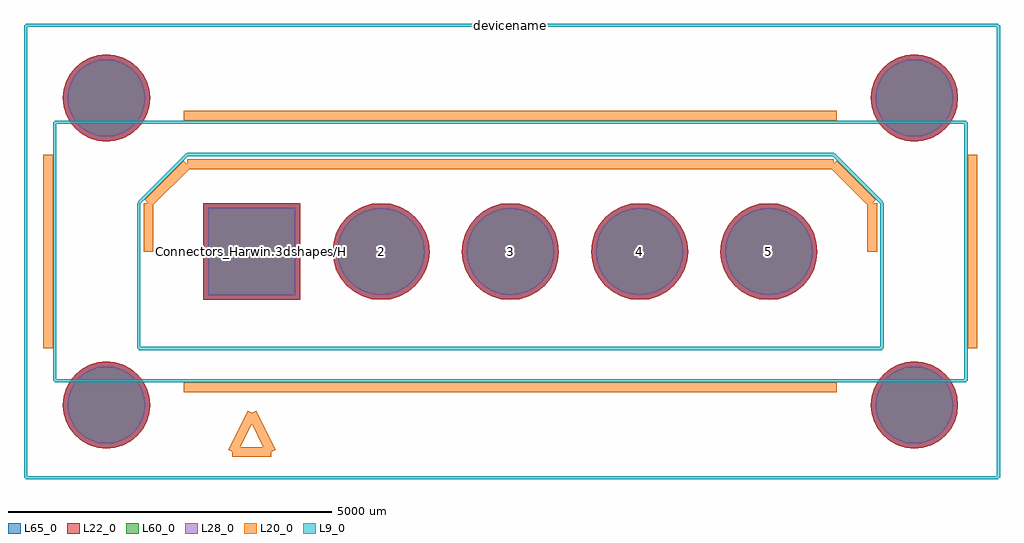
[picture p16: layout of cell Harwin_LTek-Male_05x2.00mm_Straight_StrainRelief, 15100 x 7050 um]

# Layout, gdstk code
import gdstk
lib = gdstk.Library(unit=1e-6, precision=1e-09)
def R(c, l, rs):  # rectangles x0, y0, x1, y1
    for r in rs: c.add(gdstk.rectangle(r[:2], r[2:], *l))
def P(c, l, *ps):  # polygons
    for p in ps: c.add(gdstk.Polygon(p, *l))
L9_0 = (9, 0)
L20_0 = (20, 0)
L22_0 = (22, 0)
L28_0 = (28, 0)
L60_0 = (60, 0)
L65_0 = (65, 0)

harwin_ltek_male_05x2_00 = lib.new_cell('Harwin_LTek-Male_05x2.00mm_Straight_StrainRelief')
R(harwin_ltek_male_05x2_00, L22_0, [(-750,-750,750,750)])
P(harwin_ltek_male_05x2_00, L22_0, [(10925,-2375),(10912.03,-2243.314),(10873.619,-2116.689),(10811.242,-1999.99),(10727.297,-1897.703),(10625.01,-1813.758),(10508.311,-1751.381),(10381.686,-1712.97),(10250,-1700),(10118.314,-1712.97),(9991.689,-1751.381),(9874.99,-1813.758),(9772.703,-1897.703),(9688.758,-1999.99),(9626.381,-2116.689),(9587.97,-2243.314),(9575,-2375),(9587.97,-2506.686),(9626.381,-2633.311),(9688.758,-2750.01),(9772.703,-2852.297),(9874.99,-2936.242),(9991.689,-2998.619),(10118.314,-3037.03),(10250,-3050),(10381.686,-3037.03),(10508.311,-2998.619),(10625.01,-2936.242),(10727.297,-2852.297),(10811.242,-2750.01),(10873.619,-2633.311),(10912.03,-2506.686)],
  [(10925,2375),(10912.03,2506.686),(10873.619,2633.311),(10811.242,2750.01),(10727.297,2852.297),(10625.01,2936.242),(10508.311,2998.619),(10381.686,3037.03),(10250,3050),(10118.314,3037.03),(9991.689,2998.619),(9874.99,2936.242),(9772.703,2852.297),(9688.758,2750.01),(9626.381,2633.311),(9587.97,2506.686),(9575,2375),(9587.97,2243.314),(9626.381,2116.689),(9688.758,1999.99),(9772.703,1897.703),(9874.99,1813.758),(9991.689,1751.381),(10118.314,1712.97),(10250,1700),(10381.686,1712.97),(10508.311,1751.381),(10625.01,1813.758),(10727.297,1897.703),(10811.242,1999.99),(10873.619,2116.689),(10912.03,2243.314)],
  [(-1575,-2375),(-1587.97,-2243.314),(-1626.381,-2116.689),(-1688.758,-1999.99),(-1772.703,-1897.703),(-1874.99,-1813.758),(-1991.689,-1751.381),(-2118.314,-1712.97),(-2250,-1700),(-2381.686,-1712.97),(-2508.311,-1751.381),(-2625.01,-1813.758),(-2727.297,-1897.703),(-2811.242,-1999.99),(-2873.619,-2116.689),(-2912.03,-2243.314),(-2925,-2375),(-2912.03,-2506.686),(-2873.619,-2633.311),(-2811.242,-2750.01),(-2727.297,-2852.297),(-2625.01,-2936.242),(-2508.311,-2998.619),(-2381.686,-3037.03),(-2250,-3050),(-2118.314,-3037.03),(-1991.689,-2998.619),(-1874.99,-2936.242),(-1772.703,-2852.297),(-1688.758,-2750.01),(-1626.381,-2633.311),(-1587.97,-2506.686)],
  [(-1575,2375),(-1587.97,2506.686),(-1626.381,2633.311),(-1688.758,2750.01),(-1772.703,2852.297),(-1874.99,2936.242),(-1991.689,2998.619),(-2118.314,3037.03),(-2250,3050),(-2381.686,3037.03),(-2508.311,2998.619),(-2625.01,2936.242),(-2727.297,2852.297),(-2811.242,2750.01),(-2873.619,2633.311),(-2912.03,2506.686),(-2925,2375),(-2912.03,2243.314),(-2873.619,2116.689),(-2811.242,1999.99),(-2727.297,1897.703),(-2625.01,1813.758),(-2508.311,1751.381),(-2381.686,1712.97),(-2250,1700),(-2118.314,1712.97),(-1991.689,1751.381),(-1874.99,1813.758),(-1772.703,1897.703),(-1688.758,1999.99),(-1626.381,2116.689),(-1587.97,2243.314)],
  [(8750,0),(8735.589,146.318),(8692.91,287.013),(8623.602,416.678),(8530.33,530.33),(8416.678,623.602),(8287.013,692.91),(8146.318,735.589),(8000,750),(7853.682,735.589),(7712.987,692.91),(7583.322,623.602),(7469.67,530.33),(7376.398,416.678),(7307.09,287.013),(7264.411,146.318),(7250,0),(7264.411,-146.318),(7307.09,-287.013),(7376.398,-416.678),(7469.67,-530.33),(7583.322,-623.602),(7712.987,-692.91),(7853.682,-735.589),(8000,-750),(8146.318,-735.589),(8287.013,-692.91),(8416.678,-623.602),(8530.33,-530.33),(8623.602,-416.678),(8692.91,-287.013),(8735.589,-146.318)],
  [(6750,0),(6735.589,146.318),(6692.91,287.013),(6623.602,416.678),(6530.33,530.33),(6416.678,623.602),(6287.013,692.91),(6146.318,735.589),(6000,750),(5853.682,735.589),(5712.987,692.91),(5583.322,623.602),(5469.67,530.33),(5376.398,416.678),(5307.09,287.013),(5264.411,146.318),(5250,0),(5264.411,-146.318),(5307.09,-287.013),(5376.398,-416.678),(5469.67,-530.33),(5583.322,-623.602),(5712.987,-692.91),(5853.682,-735.589),(6000,-750),(6146.318,-735.589),(6287.013,-692.91),(6416.678,-623.602),(6530.33,-530.33),(6623.602,-416.678),(6692.91,-287.013),(6735.589,-146.318)],
  [(4750,0),(4735.589,146.318),(4692.91,287.013),(4623.602,416.678),(4530.33,530.33),(4416.678,623.602),(4287.013,692.91),(4146.318,735.589),(4000,750),(3853.682,735.589),(3712.987,692.91),(3583.322,623.602),(3469.67,530.33),(3376.398,416.678),(3307.09,287.013),(3264.411,146.318),(3250,0),(3264.411,-146.318),(3307.09,-287.013),(3376.398,-416.678),(3469.67,-530.33),(3583.322,-623.602),(3712.987,-692.91),(3853.682,-735.589),(4000,-750),(4146.318,-735.589),(4287.013,-692.91),(4416.678,-623.602),(4530.33,-530.33),(4623.602,-416.678),(4692.91,-287.013),(4735.589,-146.318)],
  [(2750,0),(2735.589,146.318),(2692.91,287.013),(2623.602,416.678),(2530.33,530.33),(2416.678,623.602),(2287.013,692.91),(2146.318,735.589),(2000,750),(1853.682,735.589),(1712.987,692.91),(1583.322,623.602),(1469.67,530.33),(1376.398,416.678),(1307.09,287.013),(1264.411,146.318),(1250,0),(1264.411,-146.318),(1307.09,-287.013),(1376.398,-416.678),(1469.67,-530.33),(1583.322,-623.602),(1712.987,-692.91),(1853.682,-735.589),(2000,-750),(2146.318,-735.589),(2287.013,-692.91),(2416.678,-623.602),(2530.33,-530.33),(2623.602,-416.678),(2692.91,-287.013),(2735.589,-146.318)])
R(harwin_ltek_male_05x2_00, L28_0, [(-675,-675,675,675)])
P(harwin_ltek_male_05x2_00, L28_0, [(10850,-2375),(10838.471,-2257.946),(10804.328,-2145.39),(10748.882,-2041.658),(10674.264,-1950.736),(10583.342,-1876.118),(10479.61,-1820.672),(10367.054,-1786.529),(10250,-1775),(10132.946,-1786.529),(10020.39,-1820.672),(9916.658,-1876.118),(9825.736,-1950.736),(9751.118,-2041.658),(9695.672,-2145.39),(9661.529,-2257.946),(9650,-2375),(9661.529,-2492.054),(9695.672,-2604.61),(9751.118,-2708.342),(9825.736,-2799.264),(9916.658,-2873.882),(10020.39,-2929.328),(10132.946,-2963.471),(10250,-2975),(10367.054,-2963.471),(10479.61,-2929.328),(10583.342,-2873.882),(10674.264,-2799.264),(10748.882,-2708.342),(10804.328,-2604.61),(10838.471,-2492.054)],
  [(10850,2375),(10838.471,2492.054),(10804.328,2604.61),(10748.882,2708.342),(10674.264,2799.264),(10583.342,2873.882),(10479.61,2929.328),(10367.054,2963.471),(10250,2975),(10132.946,2963.471),(10020.39,2929.328),(9916.658,2873.882),(9825.736,2799.264),(9751.118,2708.342),(9695.672,2604.61),(9661.529,2492.054),(9650,2375),(9661.529,2257.946),(9695.672,2145.39),(9751.118,2041.658),(9825.736,1950.736),(9916.658,1876.118),(10020.39,1820.672),(10132.946,1786.529),(10250,1775),(10367.054,1786.529),(10479.61,1820.672),(10583.342,1876.118),(10674.264,1950.736),(10748.882,2041.658),(10804.328,2145.39),(10838.471,2257.946)],
  [(-1650,-2375),(-1661.529,-2257.946),(-1695.672,-2145.39),(-1751.118,-2041.658),(-1825.736,-1950.736),(-1916.658,-1876.118),(-2020.39,-1820.672),(-2132.946,-1786.529),(-2250,-1775),(-2367.054,-1786.529),(-2479.61,-1820.672),(-2583.342,-1876.118),(-2674.264,-1950.736),(-2748.882,-2041.658),(-2804.328,-2145.39),(-2838.471,-2257.946),(-2850,-2375),(-2838.471,-2492.054),(-2804.328,-2604.61),(-2748.882,-2708.342),(-2674.264,-2799.264),(-2583.342,-2873.882),(-2479.61,-2929.328),(-2367.054,-2963.471),(-2250,-2975),(-2132.946,-2963.471),(-2020.39,-2929.328),(-1916.658,-2873.882),(-1825.736,-2799.264),(-1751.118,-2708.342),(-1695.672,-2604.61),(-1661.529,-2492.054)],
  [(-1650,2375),(-1661.529,2492.054),(-1695.672,2604.61),(-1751.118,2708.342),(-1825.736,2799.264),(-1916.658,2873.882),(-2020.39,2929.328),(-2132.946,2963.471),(-2250,2975),(-2367.054,2963.471),(-2479.61,2929.328),(-2583.342,2873.882),(-2674.264,2799.264),(-2748.882,2708.342),(-2804.328,2604.61),(-2838.471,2492.054),(-2850,2375),(-2838.471,2257.946),(-2804.328,2145.39),(-2748.882,2041.658),(-2674.264,1950.736),(-2583.342,1876.118),(-2479.61,1820.672),(-2367.054,1786.529),(-2250,1775),(-2132.946,1786.529),(-2020.39,1820.672),(-1916.658,1876.118),(-1825.736,1950.736),(-1751.118,2041.658),(-1695.672,2145.39),(-1661.529,2257.946)],
  [(8675,0),(8662.03,131.686),(8623.619,258.311),(8561.242,375.01),(8477.297,477.297),(8375.01,561.242),(8258.311,623.619),(8131.686,662.03),(8000,675),(7868.314,662.03),(7741.689,623.619),(7624.99,561.242),(7522.703,477.297),(7438.758,375.01),(7376.381,258.311),(7337.97,131.686),(7325,0),(7337.97,-131.686),(7376.381,-258.311),(7438.758,-375.01),(7522.703,-477.297),(7624.99,-561.242),(7741.689,-623.619),(7868.314,-662.03),(8000,-675),(8131.686,-662.03),(8258.311,-623.619),(8375.01,-561.242),(8477.297,-477.297),(8561.242,-375.01),(8623.619,-258.311),(8662.03,-131.686)],
  [(6675,0),(6662.03,131.686),(6623.619,258.311),(6561.242,375.01),(6477.297,477.297),(6375.01,561.242),(6258.311,623.619),(6131.686,662.03),(6000,675),(5868.314,662.03),(5741.689,623.619),(5624.99,561.242),(5522.703,477.297),(5438.758,375.01),(5376.381,258.311),(5337.97,131.686),(5325,0),(5337.97,-131.686),(5376.381,-258.311),(5438.758,-375.01),(5522.703,-477.297),(5624.99,-561.242),(5741.689,-623.619),(5868.314,-662.03),(6000,-675),(6131.686,-662.03),(6258.311,-623.619),(6375.01,-561.242),(6477.297,-477.297),(6561.242,-375.01),(6623.619,-258.311),(6662.03,-131.686)],
  [(4675,0),(4662.03,131.686),(4623.619,258.311),(4561.242,375.01),(4477.297,477.297),(4375.01,561.242),(4258.311,623.619),(4131.686,662.03),(4000,675),(3868.314,662.03),(3741.689,623.619),(3624.99,561.242),(3522.703,477.297),(3438.758,375.01),(3376.381,258.311),(3337.97,131.686),(3325,0),(3337.97,-131.686),(3376.381,-258.311),(3438.758,-375.01),(3522.703,-477.297),(3624.99,-561.242),(3741.689,-623.619),(3868.314,-662.03),(4000,-675),(4131.686,-662.03),(4258.311,-623.619),(4375.01,-561.242),(4477.297,-477.297),(4561.242,-375.01),(4623.619,-258.311),(4662.03,-131.686)],
  [(2675,0),(2662.03,131.686),(2623.619,258.311),(2561.242,375.01),(2477.297,477.297),(2375.01,561.242),(2258.311,623.619),(2131.686,662.03),(2000,675),(1868.314,662.03),(1741.689,623.619),(1624.99,561.242),(1522.703,477.297),(1438.758,375.01),(1376.381,258.311),(1337.97,131.686),(1325,0),(1337.97,-131.686),(1376.381,-258.311),(1438.758,-375.01),(1522.703,-477.297),(1624.99,-561.242),(1741.689,-623.619),(1868.314,-662.03),(2000,-675),(2131.686,-662.03),(2258.311,-623.619),(2375.01,-561.242),(2477.297,-477.297),(2561.242,-375.01),(2623.619,-258.311),(2662.03,-131.686)])
R(harwin_ltek_male_05x2_00, L60_0, [(-675,-675,675,675)])
P(harwin_ltek_male_05x2_00, L60_0, [(10850,-2375),(10838.471,-2257.946),(10804.328,-2145.39),(10748.882,-2041.658),(10674.264,-1950.736),(10583.342,-1876.118),(10479.61,-1820.672),(10367.054,-1786.529),(10250,-1775),(10132.946,-1786.529),(10020.39,-1820.672),(9916.658,-1876.118),(9825.736,-1950.736),(9751.118,-2041.658),(9695.672,-2145.39),(9661.529,-2257.946),(9650,-2375),(9661.529,-2492.054),(9695.672,-2604.61),(9751.118,-2708.342),(9825.736,-2799.264),(9916.658,-2873.882),(10020.39,-2929.328),(10132.946,-2963.471),(10250,-2975),(10367.054,-2963.471),(10479.61,-2929.328),(10583.342,-2873.882),(10674.264,-2799.264),(10748.882,-2708.342),(10804.328,-2604.61),(10838.471,-2492.054)],
  [(10850,2375),(10838.471,2492.054),(10804.328,2604.61),(10748.882,2708.342),(10674.264,2799.264),(10583.342,2873.882),(10479.61,2929.328),(10367.054,2963.471),(10250,2975),(10132.946,2963.471),(10020.39,2929.328),(9916.658,2873.882),(9825.736,2799.264),(9751.118,2708.342),(9695.672,2604.61),(9661.529,2492.054),(9650,2375),(9661.529,2257.946),(9695.672,2145.39),(9751.118,2041.658),(9825.736,1950.736),(9916.658,1876.118),(10020.39,1820.672),(10132.946,1786.529),(10250,1775),(10367.054,1786.529),(10479.61,1820.672),(10583.342,1876.118),(10674.264,1950.736),(10748.882,2041.658),(10804.328,2145.39),(10838.471,2257.946)],
  [(-1650,-2375),(-1661.529,-2257.946),(-1695.672,-2145.39),(-1751.118,-2041.658),(-1825.736,-1950.736),(-1916.658,-1876.118),(-2020.39,-1820.672),(-2132.946,-1786.529),(-2250,-1775),(-2367.054,-1786.529),(-2479.61,-1820.672),(-2583.342,-1876.118),(-2674.264,-1950.736),(-2748.882,-2041.658),(-2804.328,-2145.39),(-2838.471,-2257.946),(-2850,-2375),(-2838.471,-2492.054),(-2804.328,-2604.61),(-2748.882,-2708.342),(-2674.264,-2799.264),(-2583.342,-2873.882),(-2479.61,-2929.328),(-2367.054,-2963.471),(-2250,-2975),(-2132.946,-2963.471),(-2020.39,-2929.328),(-1916.658,-2873.882),(-1825.736,-2799.264),(-1751.118,-2708.342),(-1695.672,-2604.61),(-1661.529,-2492.054)],
  [(-1650,2375),(-1661.529,2492.054),(-1695.672,2604.61),(-1751.118,2708.342),(-1825.736,2799.264),(-1916.658,2873.882),(-2020.39,2929.328),(-2132.946,2963.471),(-2250,2975),(-2367.054,2963.471),(-2479.61,2929.328),(-2583.342,2873.882),(-2674.264,2799.264),(-2748.882,2708.342),(-2804.328,2604.61),(-2838.471,2492.054),(-2850,2375),(-2838.471,2257.946),(-2804.328,2145.39),(-2748.882,2041.658),(-2674.264,1950.736),(-2583.342,1876.118),(-2479.61,1820.672),(-2367.054,1786.529),(-2250,1775),(-2132.946,1786.529),(-2020.39,1820.672),(-1916.658,1876.118),(-1825.736,1950.736),(-1751.118,2041.658),(-1695.672,2145.39),(-1661.529,2257.946)],
  [(8675,0),(8662.03,131.686),(8623.619,258.311),(8561.242,375.01),(8477.297,477.297),(8375.01,561.242),(8258.311,623.619),(8131.686,662.03),(8000,675),(7868.314,662.03),(7741.689,623.619),(7624.99,561.242),(7522.703,477.297),(7438.758,375.01),(7376.381,258.311),(7337.97,131.686),(7325,0),(7337.97,-131.686),(7376.381,-258.311),(7438.758,-375.01),(7522.703,-477.297),(7624.99,-561.242),(7741.689,-623.619),(7868.314,-662.03),(8000,-675),(8131.686,-662.03),(8258.311,-623.619),(8375.01,-561.242),(8477.297,-477.297),(8561.242,-375.01),(8623.619,-258.311),(8662.03,-131.686)],
  [(6675,0),(6662.03,131.686),(6623.619,258.311),(6561.242,375.01),(6477.297,477.297),(6375.01,561.242),(6258.311,623.619),(6131.686,662.03),(6000,675),(5868.314,662.03),(5741.689,623.619),(5624.99,561.242),(5522.703,477.297),(5438.758,375.01),(5376.381,258.311),(5337.97,131.686),(5325,0),(5337.97,-131.686),(5376.381,-258.311),(5438.758,-375.01),(5522.703,-477.297),(5624.99,-561.242),(5741.689,-623.619),(5868.314,-662.03),(6000,-675),(6131.686,-662.03),(6258.311,-623.619),(6375.01,-561.242),(6477.297,-477.297),(6561.242,-375.01),(6623.619,-258.311),(6662.03,-131.686)],
  [(4675,0),(4662.03,131.686),(4623.619,258.311),(4561.242,375.01),(4477.297,477.297),(4375.01,561.242),(4258.311,623.619),(4131.686,662.03),(4000,675),(3868.314,662.03),(3741.689,623.619),(3624.99,561.242),(3522.703,477.297),(3438.758,375.01),(3376.381,258.311),(3337.97,131.686),(3325,0),(3337.97,-131.686),(3376.381,-258.311),(3438.758,-375.01),(3522.703,-477.297),(3624.99,-561.242),(3741.689,-623.619),(3868.314,-662.03),(4000,-675),(4131.686,-662.03),(4258.311,-623.619),(4375.01,-561.242),(4477.297,-477.297),(4561.242,-375.01),(4623.619,-258.311),(4662.03,-131.686)],
  [(2675,0),(2662.03,131.686),(2623.619,258.311),(2561.242,375.01),(2477.297,477.297),(2375.01,561.242),(2258.311,623.619),(2131.686,662.03),(2000,675),(1868.314,662.03),(1741.689,623.619),(1624.99,561.242),(1522.703,477.297),(1438.758,375.01),(1376.381,258.311),(1337.97,131.686),(1325,0),(1337.97,-131.686),(1376.381,-258.311),(1438.758,-375.01),(1522.703,-477.297),(1624.99,-561.242),(1741.689,-623.619),(1868.314,-662.03),(2000,-675),(2131.686,-662.03),(2258.311,-623.619),(2375.01,-561.242),(2477.297,-477.297),(2561.242,-375.01),(2623.619,-258.311),(2662.03,-131.686)])
R(harwin_ltek_male_05x2_00, L65_0, [(-750,-750,750,750)])
P(harwin_ltek_male_05x2_00, L65_0, [(10925,-2375),(10912.03,-2243.314),(10873.619,-2116.689),(10811.242,-1999.99),(10727.297,-1897.703),(10625.01,-1813.758),(10508.311,-1751.381),(10381.686,-1712.97),(10250,-1700),(10118.314,-1712.97),(9991.689,-1751.381),(9874.99,-1813.758),(9772.703,-1897.703),(9688.758,-1999.99),(9626.381,-2116.689),(9587.97,-2243.314),(9575,-2375),(9587.97,-2506.686),(9626.381,-2633.311),(9688.758,-2750.01),(9772.703,-2852.297),(9874.99,-2936.242),(9991.689,-2998.619),(10118.314,-3037.03),(10250,-3050),(10381.686,-3037.03),(10508.311,-2998.619),(10625.01,-2936.242),(10727.297,-2852.297),(10811.242,-2750.01),(10873.619,-2633.311),(10912.03,-2506.686)],
  [(10925,2375),(10912.03,2506.686),(10873.619,2633.311),(10811.242,2750.01),(10727.297,2852.297),(10625.01,2936.242),(10508.311,2998.619),(10381.686,3037.03),(10250,3050),(10118.314,3037.03),(9991.689,2998.619),(9874.99,2936.242),(9772.703,2852.297),(9688.758,2750.01),(9626.381,2633.311),(9587.97,2506.686),(9575,2375),(9587.97,2243.314),(9626.381,2116.689),(9688.758,1999.99),(9772.703,1897.703),(9874.99,1813.758),(9991.689,1751.381),(10118.314,1712.97),(10250,1700),(10381.686,1712.97),(10508.311,1751.381),(10625.01,1813.758),(10727.297,1897.703),(10811.242,1999.99),(10873.619,2116.689),(10912.03,2243.314)],
  [(-1575,-2375),(-1587.97,-2243.314),(-1626.381,-2116.689),(-1688.758,-1999.99),(-1772.703,-1897.703),(-1874.99,-1813.758),(-1991.689,-1751.381),(-2118.314,-1712.97),(-2250,-1700),(-2381.686,-1712.97),(-2508.311,-1751.381),(-2625.01,-1813.758),(-2727.297,-1897.703),(-2811.242,-1999.99),(-2873.619,-2116.689),(-2912.03,-2243.314),(-2925,-2375),(-2912.03,-2506.686),(-2873.619,-2633.311),(-2811.242,-2750.01),(-2727.297,-2852.297),(-2625.01,-2936.242),(-2508.311,-2998.619),(-2381.686,-3037.03),(-2250,-3050),(-2118.314,-3037.03),(-1991.689,-2998.619),(-1874.99,-2936.242),(-1772.703,-2852.297),(-1688.758,-2750.01),(-1626.381,-2633.311),(-1587.97,-2506.686)],
  [(-1575,2375),(-1587.97,2506.686),(-1626.381,2633.311),(-1688.758,2750.01),(-1772.703,2852.297),(-1874.99,2936.242),(-1991.689,2998.619),(-2118.314,3037.03),(-2250,3050),(-2381.686,3037.03),(-2508.311,2998.619),(-2625.01,2936.242),(-2727.297,2852.297),(-2811.242,2750.01),(-2873.619,2633.311),(-2912.03,2506.686),(-2925,2375),(-2912.03,2243.314),(-2873.619,2116.689),(-2811.242,1999.99),(-2727.297,1897.703),(-2625.01,1813.758),(-2508.311,1751.381),(-2381.686,1712.97),(-2250,1700),(-2118.314,1712.97),(-1991.689,1751.381),(-1874.99,1813.758),(-1772.703,1897.703),(-1688.758,1999.99),(-1626.381,2116.689),(-1587.97,2243.314)],
  [(8750,0),(8735.589,146.318),(8692.91,287.013),(8623.602,416.678),(8530.33,530.33),(8416.678,623.602),(8287.013,692.91),(8146.318,735.589),(8000,750),(7853.682,735.589),(7712.987,692.91),(7583.322,623.602),(7469.67,530.33),(7376.398,416.678),(7307.09,287.013),(7264.411,146.318),(7250,0),(7264.411,-146.318),(7307.09,-287.013),(7376.398,-416.678),(7469.67,-530.33),(7583.322,-623.602),(7712.987,-692.91),(7853.682,-735.589),(8000,-750),(8146.318,-735.589),(8287.013,-692.91),(8416.678,-623.602),(8530.33,-530.33),(8623.602,-416.678),(8692.91,-287.013),(8735.589,-146.318)],
  [(6750,0),(6735.589,146.318),(6692.91,287.013),(6623.602,416.678),(6530.33,530.33),(6416.678,623.602),(6287.013,692.91),(6146.318,735.589),(6000,750),(5853.682,735.589),(5712.987,692.91),(5583.322,623.602),(5469.67,530.33),(5376.398,416.678),(5307.09,287.013),(5264.411,146.318),(5250,0),(5264.411,-146.318),(5307.09,-287.013),(5376.398,-416.678),(5469.67,-530.33),(5583.322,-623.602),(5712.987,-692.91),(5853.682,-735.589),(6000,-750),(6146.318,-735.589),(6287.013,-692.91),(6416.678,-623.602),(6530.33,-530.33),(6623.602,-416.678),(6692.91,-287.013),(6735.589,-146.318)],
  [(4750,0),(4735.589,146.318),(4692.91,287.013),(4623.602,416.678),(4530.33,530.33),(4416.678,623.602),(4287.013,692.91),(4146.318,735.589),(4000,750),(3853.682,735.589),(3712.987,692.91),(3583.322,623.602),(3469.67,530.33),(3376.398,416.678),(3307.09,287.013),(3264.411,146.318),(3250,0),(3264.411,-146.318),(3307.09,-287.013),(3376.398,-416.678),(3469.67,-530.33),(3583.322,-623.602),(3712.987,-692.91),(3853.682,-735.589),(4000,-750),(4146.318,-735.589),(4287.013,-692.91),(4416.678,-623.602),(4530.33,-530.33),(4623.602,-416.678),(4692.91,-287.013),(4735.589,-146.318)],
  [(2750,0),(2735.589,146.318),(2692.91,287.013),(2623.602,416.678),(2530.33,530.33),(2416.678,623.602),(2287.013,692.91),(2146.318,735.589),(2000,750),(1853.682,735.589),(1712.987,692.91),(1583.322,623.602),(1469.67,530.33),(1376.398,416.678),(1307.09,287.013),(1264.411,146.318),(1250,0),(1264.411,-146.318),(1307.09,-287.013),(1376.398,-416.678),(1469.67,-530.33),(1583.322,-623.602),(1712.987,-692.91),(1853.682,-735.589),(2000,-750),(2146.318,-735.589),(2287.013,-692.91),(2416.678,-623.602),(2530.33,-530.33),(2623.602,-416.678),(2692.91,-287.013),(2735.589,-146.318)])
harwin_ltek_male_05x2_00.add(gdstk.FlexPath([(300,-3100),(0,-2500)], 149.998, ends="flush", simple_path=True, layer=20, datatype=0))  # L20_0
harwin_ltek_male_05x2_00.add(gdstk.FlexPath([(-300,-3100),(300,-3100)], 149.998, ends="flush", simple_path=True, layer=20, datatype=0))  # L20_0
harwin_ltek_male_05x2_00.add(gdstk.FlexPath([(0,-2500),(-300,-3100)], 149.998, ends="flush", simple_path=True, layer=20, datatype=0))  # L20_0
harwin_ltek_male_05x2_00.add(gdstk.FlexPath([(9000,1350),(4000,1350)], 149.998, ends="flush", simple_path=True, layer=20, datatype=0))  # L20_0
harwin_ltek_male_05x2_00.add(gdstk.FlexPath([(9600,750),(9000,1350)], 149.998, ends="flush", simple_path=True, layer=20, datatype=0))  # L20_0
harwin_ltek_male_05x2_00.add(gdstk.FlexPath([(9600,0),(9600,750)], 149.998, ends="flush", simple_path=True, layer=20, datatype=0))  # L20_0
harwin_ltek_male_05x2_00.add(gdstk.FlexPath([(-1000,1350),(4000,1350)], 149.998, ends="flush", simple_path=True, layer=20, datatype=0))  # L20_0
harwin_ltek_male_05x2_00.add(gdstk.FlexPath([(-1600,750),(-1000,1350)], 149.998, ends="flush", simple_path=True, layer=20, datatype=0))  # L20_0
harwin_ltek_male_05x2_00.add(gdstk.FlexPath([(-1600,0),(-1600,750)], 149.998, ends="flush", simple_path=True, layer=20, datatype=0))  # L20_0
harwin_ltek_male_05x2_00.add(gdstk.FlexPath([(9750,-1500),(-1750,-1500)], 50, ends="flush", simple_path=True, layer=9, datatype=0))  # L9_0
harwin_ltek_male_05x2_00.add(gdstk.FlexPath([(9750,750),(9750,-1500)], 50, ends="flush", simple_path=True, layer=9, datatype=0))  # L9_0
harwin_ltek_male_05x2_00.add(gdstk.FlexPath([(9000,1500),(9750,750)], 50, ends="flush", simple_path=True, layer=9, datatype=0))  # L9_0
harwin_ltek_male_05x2_00.add(gdstk.FlexPath([(-1000,1500),(9000,1500)], 50, ends="flush", simple_path=True, layer=9, datatype=0))  # L9_0
harwin_ltek_male_05x2_00.add(gdstk.FlexPath([(-1750,750),(-1000,1500)], 50, ends="flush", simple_path=True, layer=9, datatype=0))  # L9_0
harwin_ltek_male_05x2_00.add(gdstk.FlexPath([(-1750,-1500),(-1750,750)], 50, ends="flush", simple_path=True, layer=9, datatype=0))  # L9_0
harwin_ltek_male_05x2_00.add(gdstk.FlexPath([(11050,2000),(-3050,2000)], 50, ends="flush", simple_path=True, layer=9, datatype=0))  # L9_0
harwin_ltek_male_05x2_00.add(gdstk.FlexPath([(11050,-2000),(11050,2000)], 50, ends="flush", simple_path=True, layer=9, datatype=0))  # L9_0
harwin_ltek_male_05x2_00.add(gdstk.FlexPath([(-3050,-2000),(11050,-2000)], 50, ends="flush", simple_path=True, layer=9, datatype=0))  # L9_0
harwin_ltek_male_05x2_00.add(gdstk.FlexPath([(-3050,2000),(-3050,-2000)], 50, ends="flush", simple_path=True, layer=9, datatype=0))  # L9_0
harwin_ltek_male_05x2_00.add(gdstk.FlexPath([(11550,3500),(-3500,3500)], 50, ends="flush", simple_path=True, layer=9, datatype=0))  # L9_0
harwin_ltek_male_05x2_00.add(gdstk.FlexPath([(11550,-3500),(11550,3500)], 50, ends="flush", simple_path=True, layer=9, datatype=0))  # L9_0
harwin_ltek_male_05x2_00.add(gdstk.FlexPath([(-3500,-3500),(11550,-3500)], 50, ends="flush", simple_path=True, layer=9, datatype=0))  # L9_0
harwin_ltek_male_05x2_00.add(gdstk.FlexPath([(-3500,3500),(-3500,-3500)], 50, ends="flush", simple_path=True, layer=9, datatype=0))  # L9_0
harwin_ltek_male_05x2_00.add(gdstk.FlexPath([(11150,1500),(11150,-1500)], 149.998, ends="flush", simple_path=True, layer=20, datatype=0))  # L20_0
harwin_ltek_male_05x2_00.add(gdstk.FlexPath([(-3150,1500),(-3150,-1500)], 149.998, ends="flush", simple_path=True, layer=20, datatype=0))  # L20_0
harwin_ltek_male_05x2_00.add(gdstk.FlexPath([(-1050,-2100),(9050,-2100)], 149.998, ends="flush", simple_path=True, layer=20, datatype=0))  # L20_0
harwin_ltek_male_05x2_00.add(gdstk.FlexPath([(-1050,2100),(9050,2100)], 149.998, ends="flush", simple_path=True, layer=20, datatype=0))  # L20_0
harwin_ltek_male_05x2_00.add(gdstk.Label('Connectors_Harwin.3dshapes/Harwin_LTek-Male_05x2.00mm_Straight_StrainRelief.wrl', (0,0), layer=12, texttype=0))
harwin_ltek_male_05x2_00.add(gdstk.Label('5', (8000,0), layer=28, texttype=0))
harwin_ltek_male_05x2_00.add(gdstk.Label('4', (6000,0), layer=28, texttype=0))
harwin_ltek_male_05x2_00.add(gdstk.Label('3', (4000,0), layer=28, texttype=0))
harwin_ltek_male_05x2_00.add(gdstk.Label('2', (2000,0), layer=28, texttype=0))
harwin_ltek_male_05x2_00.add(gdstk.Label('1', (0,0), layer=28, texttype=0))
harwin_ltek_male_05x2_00.add(gdstk.Label('type', (4000,-4000), layer=9, texttype=0))
harwin_ltek_male_05x2_00.add(gdstk.Label('devicename', (4000,3500), layer=9, texttype=0))

lib.write_gds('Harwin_LTek-Male_05x2.00mm_Straight_StrainRelief.gds')
